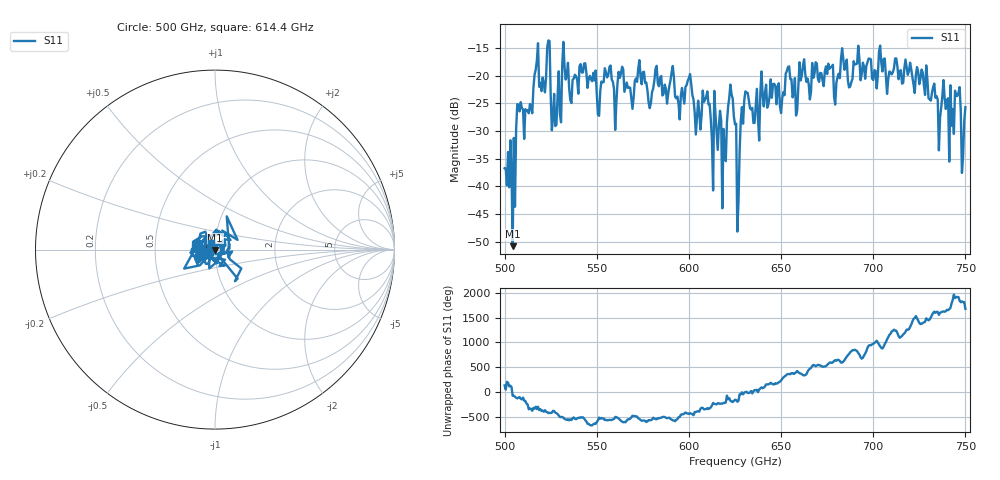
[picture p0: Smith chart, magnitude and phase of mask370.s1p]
!Created with skrf (http://scikit-rf.org).
# GHz S MA R 50.0
!freq magS11 angS11
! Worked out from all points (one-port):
!   401 points, 500 GHz to 750 GHz, reference 50 ohm
!   lowest |S11| = -50.8 dB at 504.4 GHz (marker M1), VSWR 1.01, Z = 50.1 - j0.271 ohm
!   |S11| at or under -10 dB: start of sweep to end of sweep
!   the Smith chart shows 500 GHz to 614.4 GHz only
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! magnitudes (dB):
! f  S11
! 500 GHz  -36.7
! 504.4 GHz  -50.8
! 507.5 GHz  -25.3
! 513.8 GHz  -25.1
! 516.9 GHz  -18.9
! 523.8 GHz  -13.6
! 526.9 GHz  -23.3
! 531.2 GHz  -18.3
! 542.5 GHz  -19.4
! 551.2 GHz  -27.2
! 556.2 GHz  -19.8
! 560 GHz  -29.8
! 562.5 GHz  -20.4
! 578.8 GHz  -25.9
! 590.6 GHz  -19.4
! 593.8 GHz  -23.8
! 608.8 GHz  -24.4
! 619.4 GHz  -33.5
! 622.5 GHz  -21.6
! 625 GHz  -28.8
! 627.5 GHz  -33.8
! 631.2 GHz  -23.0
! 656.2 GHz  -23.9
! 680 GHz  -21.2
! 683.8 GHz  -17.1
! 687.5 GHz  -22.0
! 718.8 GHz  -19.8
! 750 GHz  -25.7
